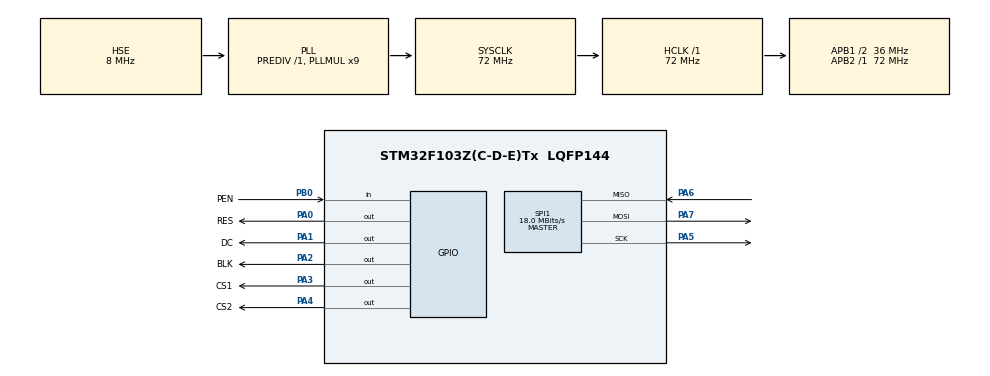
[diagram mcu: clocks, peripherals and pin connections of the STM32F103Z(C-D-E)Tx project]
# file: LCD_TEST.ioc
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Mcu.Family=STM32F1
Mcu.Name=STM32F103Z(C-D-E)Tx
Mcu.Package=LQFP144
NVIC.PriorityGroup=NVIC_PRIORITYGROUP_4
OSC_IN.Mode=HSE-External-Oscillator
OSC_IN.Signal=RCC_OSC_IN
OSC_OUT.Mode=HSE-External-Oscillator
OSC_OUT.Signal=RCC_OSC_OUT
PA0-WKUP.GPIO_Label=RES
PA0-WKUP.PinState=GPIO_PIN_SET
PA0-WKUP.Signal=GPIO_Output
PA1.GPIO_Label=DC
PA1.GPIO_ModeDefaultOutputPP=GPIO_MODE_OUTPUT_PP
PA1.GPIO_PuPd=GPIO_PULLUP
PA1.GPIO_Speed=GPIO_SPEED_FREQ_LOW
PA1.PinState=GPIO_PIN_SET
PA1.Signal=GPIO_Output
PA13.Mode=Serial_Wire
PA13.Signal=SYS_JTMS-SWDIO
PA14.Mode=Serial_Wire
PA14.Signal=SYS_JTCK-SWCLK
PA2.GPIO_Label=BLK
PA2.GPIO_ModeDefaultOutputPP=GPIO_MODE_OUTPUT_PP
PA2.GPIO_PuPd=GPIO_PULLUP
PA2.GPIO_Speed=GPIO_SPEED_FREQ_LOW
PA2.PinState=GPIO_PIN_SET
PA2.Signal=GPIO_Output
PA3.GPIO_Label=CS1
PA3.GPIO_ModeDefaultOutputPP=GPIO_MODE_OUTPUT_PP
PA3.GPIO_PuPd=GPIO_PULLUP
PA3.GPIO_Speed=GPIO_SPEED_FREQ_LOW
PA3.PinState=GPIO_PIN_SET
PA3.Signal=GPIO_Output
PA4.GPIO_Label=CS2
PA4.GPIO_ModeDefaultOutputPP=GPIO_MODE_OUTPUT_PP
PA4.GPIO_PuPd=GPIO_PULLUP
PA4.GPIO_Speed=GPIO_SPEED_FREQ_LOW
PA4.PinState=GPIO_PIN_SET
PA4.Signal=GPIO_Output
PA5.Mode=Full_Duplex_Master
PA5.Signal=SPI1_SCK
PA6.Mode=Full_Duplex_Master
PA6.Signal=SPI1_MISO
PA7.Mode=Full_Duplex_Master
PA7.Signal=SPI1_MOSI
PB0.GPIO_Label=PEN
PB0.GPIO_PuPd=GPIO_NOPULL
PB0.Signal=GPIO_Input
ProjectManager.HeapSize=0x200
ProjectManager.StackSize=0x400
ProjectManager.TargetToolchain=MDK-ARM V5.32
RCC.AHBFreq_Value=72000000
RCC.APB1CLKDivider=RCC_HCLK_DIV2
RCC.APB1Freq_Value=36000000
RCC.APB1TimFreq_Value=72000000
RCC.APB2Freq_Value=72000000
RCC.APB2TimFreq_Value=72000000
RCC.HCLKFreq_Value=72000000
RCC.PLLMUL=RCC_PLL_MUL9
RCC.PLLSourceVirtual=RCC_PLLSOURCE_HSE
RCC.SYSCLKFreq_VALUE=72000000
RCC.SYSCLKSource=RCC_SYSCLKSOURCE_PLLCLK
RCC.USBFreq_Value=72000000
SPI1.BaudRatePrescaler=SPI_BAUDRATEPRESCALER_4
SPI1.CalculateBaudRate=18.0 MBits/s
SPI1.Direction=SPI_DIRECTION_2LINES
SPI1.Mode=SPI_MODE_MASTER
SPI1.VirtualType=VM_MASTER
board=custom

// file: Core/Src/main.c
/* USER CODE BEGIN Header */
/**
  ******************************************************************************
  * @file           : main.c
  * @brief          : Main program body
  ******************************************************************************
  * @attention
  *
  * Copyright (c) 2026 STMicroelectronics.
  * All rights reserved.
  *
  * This software is licensed under terms that can be found in the LICENSE file
  * in the root directory of this software component.
  * If no LICENSE file comes with this software, it is provided AS-IS.
  *
  ******************************************************************************
  */
/* USER CODE END Header */
#include "main.h"
#include "spi.h"
#include "gpio.h"

/* USER CODE BEGIN Includes */
#include "lcd_init.h"
#include "lcd.h"
#include "pic.h"
#include "touch.h"
/* USER CODE END Includes */

void SystemClock_Config(void);

int main(void)
{

  /* USER CODE BEGIN 1 */
	u8 i,j;
	float t=0;
 	u16 lastpos[2];//���һ�ε�����
  /* USER CODE END 1 */

  /* MCU Configuration--------------------------------------------------------*/

  /* Reset of all peripherals, Initializes the Flash interface and the Systick. */
  HAL_Init();

  /* Configure the system clock */
  SystemClock_Config();

  /* Initialize all configured peripherals */
  MX_GPIO_Init();
  MX_SPI1_Init();
  /* USER CODE BEGIN 2 */

	LCD_Init();//LCD��ʼ��
	LCD_Fill(0,0,LCD_W,LCD_H,WHITE);
	lastpos[0]=0XFFFF;

//	LCD_ShowPicture(0,0,300,386,gImage_BSP_Image2);
//	HAL_Delay(1000);
//	LCD_Fill(0,0,LCD_W,LCD_H,WHITE);
//	LCD_ShowChinese(0,0,"�о�԰����",RED,WHITE,32,0);
//	LCD_ShowString(0,40,"LCD_W:",RED,WHITE,16,0);
//	LCD_ShowIntNum(48,40,LCD_W,3,RED,WHITE,16);
//	LCD_ShowString(80,40,"LCD_H:",RED,WHITE,16,0);
//	LCD_ShowIntNum(128,40,LCD_H,3,RED,WHITE,16);
//	LCD_ShowString(80,40,"LCD_H:",RED,WHITE,16,0);
//	LCD_ShowString(0,70,"Increaseing Nun:",RED,WHITE,16,0);
//	LCD_ShowFloatNum1(128,70,t,4,RED,WHITE,16);
	t+=0.11;
//	for(j=0;j<7;j++)
//	{
//		for(i=0;i<8;i++)
//		{
//			LCD_ShowPicture(40*i,200+j*40,40,40,gImage_1);
//		}
//	}
//	HAL_Delay(1000);
	LCD_Fill(0,0,LCD_W,LCD_H,WHITE);

	TP_Init();
	LCD_ShowString(10,LCD_H-40,"X:",RED,WHITE,16,0);
	LCD_ShowIntNum(26,LCD_H-40,0,3,RED,WHITE,16);
	LCD_ShowString(10,LCD_H-20,"Y:",RED,WHITE,16,0);
	LCD_ShowIntNum(26,LCD_H-20,0,3,RED,WHITE,16);
  /* USER CODE END 2 */

  /* Infinite loop */
  /* USER CODE BEGIN WHILE */
  while (1)
  {
 		tp_dev.scan(0);//扫描
 		if(tp_dev.sta&TP_PRES_DOWN)//有按键被按下
		{
			HAL_Delay(1);//必要的延时,否则老认为有按键按下.
			if((tp_dev.x[0]<(LCD_W-1)&&tp_dev.x[0]>=1)&&(tp_dev.y[0]<(LCD_H-1)&&tp_dev.y[0]>=1))
			{
				if(lastpos[0]==0XFFFF)
				{
					lastpos[0]=tp_dev.x[0];
					lastpos[1]=tp_dev.y[0];
				}
				LCD_DrawRoughLine(lastpos[0],lastpos[1],tp_dev.x[0],tp_dev.y[0],BLUE);//画线
				lastpos[0]=tp_dev.x[0];
				lastpos[1]=tp_dev.y[0];
				LCD_ShowString(10,LCD_H-40,"X:",RED,WHITE,16,0);
				LCD_ShowIntNum(26,LCD_H-40,tp_dev.x[0],3,RED,WHITE,16);
				LCD_ShowString(10,LCD_H-20,"Y:",RED,WHITE,16,0);
				LCD_ShowIntNum(26,LCD_H-20,tp_dev.y[0],3,RED,WHITE,16);
			}
		}
    /* USER CODE END WHILE */

  }
}

void SystemClock_Config(void)
{
  RCC_OscInitTypeDef RCC_OscInitStruct = {0};
  RCC_ClkInitTypeDef RCC_ClkInitStruct = {0};

  /** Initializes the RCC Oscillators according to the specified parameters
  * in the RCC_OscInitTypeDef structure.
  */
  RCC_OscInitStruct.OscillatorType = RCC_OSCILLATORTYPE_HSE;
  RCC_OscInitStruct.HSEState = RCC_HSE_ON;
  RCC_OscInitStruct.HSEPredivValue = RCC_HSE_PREDIV_DIV1;
  RCC_OscInitStruct.HSIState = RCC_HSI_ON;
  RCC_OscInitStruct.PLL.PLLState = RCC_PLL_ON;
  RCC_OscInitStruct.PLL.PLLSource = RCC_PLLSOURCE_HSE;
  RCC_OscInitStruct.PLL.PLLMUL = RCC_PLL_MUL9;
  if (HAL_RCC_OscConfig(&RCC_OscInitStruct) != HAL_OK)
  {
    Error_Handler();
  }

  /** Initializes the CPU, AHB and APB buses clocks
  */
  RCC_ClkInitStruct.ClockType = RCC_CLOCKTYPE_HCLK|RCC_CLOCKTYPE_SYSCLK
                              |RCC_CLOCKTYPE_PCLK1|RCC_CLOCKTYPE_PCLK2;
  RCC_ClkInitStruct.SYSCLKSource = RCC_SYSCLKSOURCE_PLLCLK;
  RCC_ClkInitStruct.AHBCLKDivider = RCC_SYSCLK_DIV1;
  RCC_ClkInitStruct.APB1CLKDivider = RCC_HCLK_DIV2;
  RCC_ClkInitStruct.APB2CLKDivider = RCC_HCLK_DIV1;

  if (HAL_RCC_ClockConfig(&RCC_ClkInitStruct, FLASH_LATENCY_2) != HAL_OK)
  {
    Error_Handler();
  }
}

void Error_Handler(void)
{
  __disable_irq();
  while (1)
  {
  }
}
